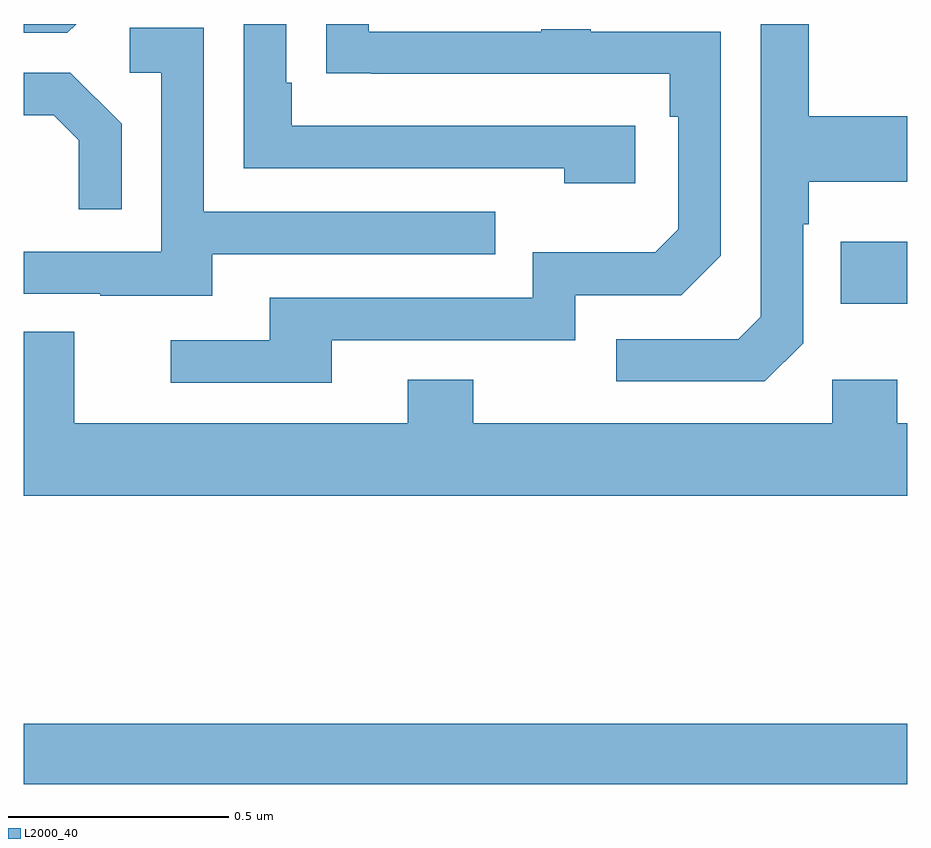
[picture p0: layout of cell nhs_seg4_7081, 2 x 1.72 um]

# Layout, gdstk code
import gdstk
lib = gdstk.Library(unit=1e-6, precision=1e-09)
def R(c, l, rs):  # rectangles x0, y0, x1, y1
    for r in rs: c.add(gdstk.rectangle(r[:2], r[2:], *l))
def P(c, l, *ps):  # polygons
    for p in ps: c.add(gdstk.Polygon(p, *l))
L2000_40 = (2000, 40)

nhs_seg4_7081 = lib.new_cell('nhs_seg4_7081')
R(nhs_seg4_7081, L2000_40, [(198,784.18,200,784.316), (199.849,785.267,200,785.407)])
P(nhs_seg4_7081, L2000_40, [(198.697,785.184),(199.248,785.184),(199.248,785.286),(199.488,785.286),(199.578,785.376),(199.578,785.883),(199.283,785.883),(199.283,785.888),(199.171,785.888),(199.171,785.883),(198.781,785.883),(198.781,785.9),(198.685,785.9),(198.685,785.788),(198.787,785.788),(198.787,785.787),(199.462,785.787),(199.462,785.69),(199.482,785.69),(199.482,785.436),(199.429,785.383),(199.152,785.383),(199.152,785.28),(198.557,785.28),(198.557,785.184),(198.333,785.184),(198.333,785.088),(198.697,785.088)],
  [(199.764,785.178),(199.764,785.447),(199.777,785.447),(199.777,785.543),(200,785.543),(200,785.691),(199.777,785.691),(199.777,785.9),(199.668,785.9),(199.668,785.238),(199.617,785.187),(199.341,785.187),(199.341,785.091),(199.677,785.091)],
  [(198.119,785.9),(198,785.9),(198,785.88),(198.099,785.88)],
  [(199.384,785.67),(198.607,785.67),(198.607,785.767),(198.594,785.767),(198.594,785.9),(198.498,785.9),(198.498,785.574),(199.223,785.574),(199.223,785.54),(199.384,785.54)],
  [(198.427,785.379),(199.067,785.379),(199.067,785.475),(198.408,785.475),(198.408,785.891),(198.24,785.891),(198.24,785.79),(198.312,785.79),(198.312,785.385),(198,785.385),(198,785.289),(198.173,785.289),(198.173,785.285),(198.427,785.285)],
  [(198.222,785.674),(198.106,785.79),(198,785.79),(198,785.694),(198.068,785.694),(198.125,785.637),(198.125,785.481),(198.222,785.481)],
  [(200,784.996),(199.977,784.996),(199.977,785.095),(199.83,785.095),(199.83,784.996),(199.017,784.996),(199.017,785.095),(198.869,785.095),(198.869,784.996),(198.115,784.996),(198.115,785.204),(198,785.204),(198,784.832),(200,784.832)])

lib.write_gds('nhs_seg4_7081.gds')
